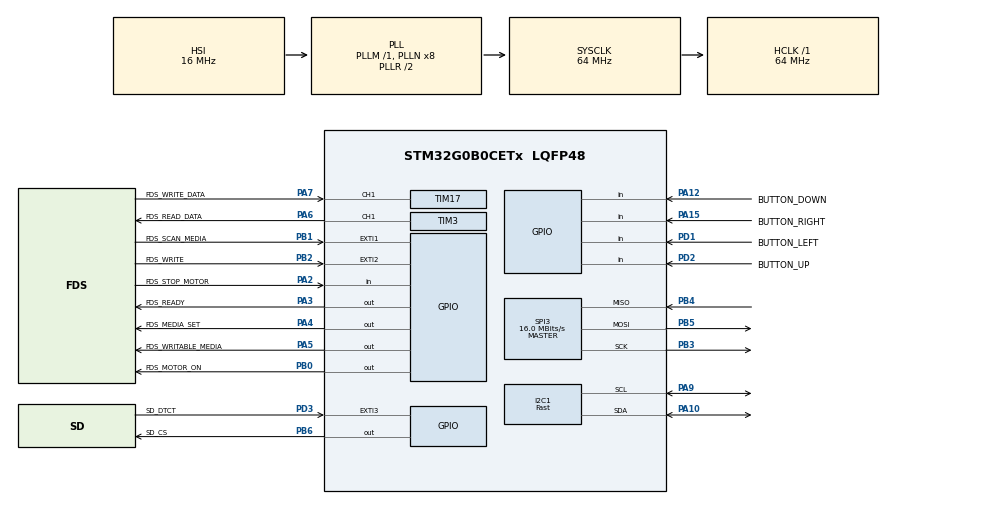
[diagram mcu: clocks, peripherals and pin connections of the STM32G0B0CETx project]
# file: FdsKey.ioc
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Dma.Request0=TIM3_UP
Dma.Request1=TIM17_CH1
Dma.TIM17_CH1.1.Direction=DMA_PERIPH_TO_MEMORY
Dma.TIM17_CH1.1.EventEnable=DISABLE
Dma.TIM17_CH1.1.Instance=DMA1_Channel2
Dma.TIM17_CH1.1.MemDataAlignment=DMA_MDATAALIGN_HALFWORD
Dma.TIM17_CH1.1.MemInc=DMA_MINC_ENABLE
Dma.TIM17_CH1.1.Mode=DMA_CIRCULAR
Dma.TIM17_CH1.1.PeriphDataAlignment=DMA_PDATAALIGN_HALFWORD
Dma.TIM17_CH1.1.PeriphInc=DMA_PINC_DISABLE
Dma.TIM17_CH1.1.Polarity=HAL_DMAMUX_REQ_GEN_RISING
Dma.TIM17_CH1.1.Priority=DMA_PRIORITY_VERY_HIGH
Dma.TIM17_CH1.1.RequestNumber=1
Dma.TIM17_CH1.1.SignalID=NONE
Dma.TIM17_CH1.1.SyncEnable=DISABLE
Dma.TIM17_CH1.1.SyncPolarity=HAL_DMAMUX_SYNC_NO_EVENT
Dma.TIM17_CH1.1.SyncRequestNumber=1
Dma.TIM17_CH1.1.SyncSignalID=NONE
Dma.TIM3_UP.0.Direction=DMA_MEMORY_TO_PERIPH
Dma.TIM3_UP.0.EventEnable=DISABLE
Dma.TIM3_UP.0.Instance=DMA1_Channel1
Dma.TIM3_UP.0.MemDataAlignment=DMA_MDATAALIGN_BYTE
Dma.TIM3_UP.0.MemInc=DMA_MINC_ENABLE
Dma.TIM3_UP.0.Mode=DMA_CIRCULAR
Dma.TIM3_UP.0.PeriphDataAlignment=DMA_PDATAALIGN_HALFWORD
Dma.TIM3_UP.0.PeriphInc=DMA_PINC_DISABLE
Dma.TIM3_UP.0.Polarity=HAL_DMAMUX_REQ_GEN_RISING
Dma.TIM3_UP.0.Priority=DMA_PRIORITY_MEDIUM
Dma.TIM3_UP.0.RequestNumber=1
Dma.TIM3_UP.0.SignalID=NONE
Dma.TIM3_UP.0.SyncEnable=DISABLE
Dma.TIM3_UP.0.SyncPolarity=HAL_DMAMUX_SYNC_NO_EVENT
Dma.TIM3_UP.0.SyncRequestNumber=1
Dma.TIM3_UP.0.SyncSignalID=NONE
I2C1.I2C_Speed_Mode=I2C_Fast
I2C1.Timing=0x00300F38
Mcu.Family=STM32G0
Mcu.Name=STM32G0B0CETx
Mcu.Package=LQFP48
NVIC.DMA1_Channel1_IRQn=true\:0\:0\:false\:false\:true\:false\:true\:true
NVIC.DMA1_Channel2_3_IRQn=true\:0\:0\:true\:false\:true\:false\:true\:true
NVIC.EXTI0_1_IRQn=true\:0\:0\:true\:false\:true\:true\:true\:true
NVIC.EXTI2_3_IRQn=true\:0\:0\:true\:false\:true\:true\:true\:true
NVIC.TIM1_BRK_UP_TRG_COM_IRQn=true\:3\:0\:true\:false\:true\:true\:true\:true
PA10.GPIO_Pu=GPIO_PULLUP
PA10.Mode=I2C
PA10.Signal=I2C1_SDA
PA12\ [PA10].GPIO_Label=BUTTON_DOWN
PA12\ [PA10].GPIO_PuPd=GPIO_PULLUP
PA12\ [PA10].Signal=GPIO_Input
PA13.Mode=Serial_Wire
PA13.Signal=SYS_SWDIO
PA14-BOOT0.Mode=Serial_Wire
PA14-BOOT0.Signal=SYS_SWCLK
PA15.GPIO_Label=BUTTON_RIGHT
PA15.GPIO_PuPd=GPIO_PULLUP
PA15.Signal=GPIO_Input
PA2.GPIO_Label=FDS_STOP_MOTOR
PA2.GPIO_PuPd=GPIO_PULLUP
PA2.Signal=GPIO_Input
PA3.GPIO_Label=FDS_READY
PA3.GPIO_ModeDefaultOutputPP=GPIO_MODE_OUTPUT_PP
PA3.GPIO_PuPd=GPIO_NOPULL
PA3.PinState=GPIO_PIN_SET
PA3.Signal=GPIO_Output
PA4.GPIO_Label=FDS_MEDIA_SET
PA4.GPIO_ModeDefaultOutputPP=GPIO_MODE_OUTPUT_PP
PA4.GPIO_PuPd=GPIO_NOPULL
PA4.PinState=GPIO_PIN_SET
PA4.Signal=GPIO_Output
PA5.GPIO_Label=FDS_WRITABLE_MEDIA
PA5.GPIO_ModeDefaultOutputPP=GPIO_MODE_OUTPUT_PP
PA5.GPIO_PuPd=GPIO_NOPULL
PA5.PinState=GPIO_PIN_SET
PA5.Signal=GPIO_Output
PA6.GPIO_Label=FDS_READ_DATA
PA6.GPIO_PuPd=GPIO_PULLDOWN
PA6.GPIO_Speed=GPIO_SPEED_FREQ_HIGH
PA6.Signal=S_TIM3_CH1
PA7.GPIO_Label=FDS_WRITE_DATA
PA7.GPIO_PuPd=GPIO_PULLDOWN
PA7.Signal=S_TIM17_CH1
PA9.GPIO_Pu=GPIO_PULLUP
PA9.Mode=I2C
PA9.Signal=I2C1_SCL
PB0.GPIO_Label=FDS_MOTOR_ON
PB0.GPIO_ModeDefaultOutputPP=GPIO_MODE_OUTPUT_PP
PB0.GPIO_PuPd=GPIO_NOPULL
PB0.PinState=GPIO_PIN_SET
PB0.Signal=GPIO_Output
PB1.GPIO_Label=FDS_SCAN_MEDIA
PB1.GPIO_ModeDefaultEXTI=GPIO_MODE_IT_RISING_FALLING
PB1.GPIO_PuPd=GPIO_PULLUP
PB1.Signal=GPXTI1
PB2.GPIO_Label=FDS_WRITE
PB2.GPIO_ModeDefaultEXTI=GPIO_MODE_IT_RISING_FALLING
PB2.GPIO_PuPd=GPIO_PULLUP
PB2.Signal=GPXTI2
PB3.Mode=Full_Duplex_Master
PB3.Signal=SPI3_SCK
PB4.Mode=Full_Duplex_Master
PB4.Signal=SPI3_MISO
PB5.Mode=Full_Duplex_Master
PB5.Signal=SPI3_MOSI
PB6.GPIO_Label=SD_CS
PB6.PinState=GPIO_PIN_SET
PB6.Signal=GPIO_Output
PD1.GPIO_Label=BUTTON_LEFT
PD1.GPIO_PuPd=GPIO_PULLUP
PD1.Signal=GPIO_Input
PD2.GPIO_Label=BUTTON_UP
PD2.GPIO_PuPd=GPIO_PULLUP
PD2.Signal=GPIO_Input
PD3.GPIO_Label=SD_DTCT
PD3.GPIO_ModeDefaultEXTI=GPIO_MODE_IT_RISING
PD3.GPIO_PuPd=GPIO_PULLUP
PD3.Signal=GPXTI3
ProjectManager.HeapSize=0x200
ProjectManager.StackSize=0x400
ProjectManager.TargetToolchain=STM32CubeIDE
RCC.ADCFreq_Value=64000000
RCC.AHBFreq_Value=64000000
RCC.APB1CLKDivider=RCC_HCLK_DIV2
RCC.CortexFreq_Value=64000000
RCC.EXTERNAL_CLOCK_VALUE=48000
RCC.HCLKFreq_Value=64000000
RCC.HSE_VALUE=8000000
RCC.HSI_VALUE=16000000
RCC.LSE_VALUE=32768
RCC.SYSCLKFreq_VALUE=64000000
RCC.SYSCLKSource=RCC_SYSCLKSOURCE_PLLCLK
RCC.USBFreq_Value=64000000
RCC.VCOOutputFreq_Value=128000000
SH.S_TIM17_CH1.0=TIM17_CH1,Input_Capture1_from_TI1
SH.S_TIM3_CH1.0=TIM3_CH1,PWM Generation1 CH1
SPI3.BaudRatePrescaler=SPI_BAUDRATEPRESCALER_2
SPI3.CalculateBaudRate=16.0 MBits/s
SPI3.Direction=SPI_DIRECTION_2LINES
SPI3.Mode=SPI_MODE_MASTER
SPI3.VirtualType=VM_MASTER
TIM1.Period=9
TIM1.Prescaler=63999
TIM17.Channel=TIM_CHANNEL_1
TIM3.Channel-PWM\ Generation1\ CH1=TIM_CHANNEL_1
TIM3.Period=319
TIM3.Pulse-PWM\ Generation1\ CH1=31
TIM4.Period=6535
TIM4.Prescaler=63
VP_TIM17_VS_ClockSourceINT.Mode=Enable_Timer
VP_TIM1_VS_ClockSourceINT.Mode=Internal
VP_TIM3_VS_ClockSourceINT.Mode=Internal
VP_TIM4_VS_ClockSourceINT.Mode=Internal
board=custom

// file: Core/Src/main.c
/* USER CODE BEGIN Header */
/**
  ******************************************************************************
  * @file           : main.c
  * @brief          : Main program body
  ******************************************************************************
  * @attention
  *
  * Copyright (c) 2023 STMicroelectronics.
  * All rights reserved.
  *
  * This software is licensed under terms that can be found in the LICENSE file
  * in the root directory of this software component.
  * If no LICENSE file comes with this software, it is provided AS-IS.
  *
  ******************************************************************************
  */
/* USER CODE END Header */
#include "main.h"

/* USER CODE BEGIN Includes */
#include "oled.h"
#include "mainmenu.h"
#include "settings.h"
#include "fdsemu.h"
#include "splash.h"
#include "servicemenu.h"
/* USER CODE END Includes */

I2C_HandleTypeDef hi2c1;

SPI_HandleTypeDef hspi3;

TIM_HandleTypeDef htim1;
TIM_HandleTypeDef htim3;
TIM_HandleTypeDef htim4;
TIM_HandleTypeDef htim17;
DMA_HandleTypeDef hdma_tim3_up;
DMA_HandleTypeDef hdma_tim17_ch1;

void SystemClock_Config(void);
static void MX_GPIO_Init(void);
static void MX_DMA_Init(void);
static void MX_I2C1_Init(void);
static void MX_SPI3_Init(void);
static void MX_TIM3_Init(void);
static void MX_TIM17_Init(void);
static void MX_TIM1_Init(void);
static void MX_TIM4_Init(void);
/* USER CODE BEGIN PFP */

void HAL_GPIO_EXTI_Rising_Callback(uint16_t GPIO_Pin)
{
  switch (GPIO_Pin)
  {
  case FDS_SCAN_MEDIA_Pin:
  case FDS_WRITE_Pin:
    fds_check_pins();
    break;
  case SD_DTCT_Pin:
    show_error_screen("The SD card is ejected", 1);
    break;
  }
}

void HAL_GPIO_EXTI_Falling_Callback(uint16_t GPIO_Pin)
{
  switch (GPIO_Pin)
  {
  case FDS_SCAN_MEDIA_Pin:
  case FDS_WRITE_Pin:
    fds_check_pins();
    break;
  }
}

void HAL_TIM_PeriodElapsedCallback(TIM_HandleTypeDef *htim)
{
  if (htim == &htim1)
    fds_check_pins();
}

void delay_us(uint16_t us)
{
  htim4.Instance->EGR |= TIM_EGR_UG;
  while (htim4.Instance->CNT < us);
}

/* USER CODE END PFP */

int main(void)
{

  /* MCU Configuration--------------------------------------------------------*/

  /* Reset of all peripherals, Initializes the Flash interface and the Systick. */
  HAL_Init();

  /* Configure the system clock */
  SystemClock_Config();

  /* USER CODE BEGIN SysInit */
  HAL_Delay(100);
  service_settings_load();
  settings_load();
  /* USER CODE END SysInit */

  /* Initialize all configured peripherals */
  MX_GPIO_Init();
  MX_DMA_Init();
  MX_I2C1_Init();
  MX_SPI3_Init();
  MX_TIM3_Init();
  MX_TIM17_Init();
  MX_TIM1_Init();
  MX_TIM4_Init();
  /* USER CODE BEGIN 2 */

  // pins check timer
  HAL_TIM_Base_Start_IT(&htim1);
  // us delay timer
  HAL_TIM_Base_Start_IT(&htim4);
  /* USER CODE END 2 */

  /* Infinite loop */
  /* USER CODE BEGIN WHILE */
  main_menu_loop();
  while (1)
  {
    /* USER CODE END WHILE */

  }
}

void SystemClock_Config(void)
{
  RCC_OscInitTypeDef RCC_OscInitStruct = {0};
  RCC_ClkInitTypeDef RCC_ClkInitStruct = {0};

  /** Configure the main internal regulator output voltage
  */
  HAL_PWREx_ControlVoltageScaling(PWR_REGULATOR_VOLTAGE_SCALE1);

  /** Initializes the RCC Oscillators according to the specified parameters
  * in the RCC_OscInitTypeDef structure.
  */
  RCC_OscInitStruct.OscillatorType = RCC_OSCILLATORTYPE_HSI;
  RCC_OscInitStruct.HSIState = RCC_HSI_ON;
  RCC_OscInitStruct.HSIDiv = RCC_HSI_DIV1;
  RCC_OscInitStruct.HSICalibrationValue = RCC_HSICALIBRATION_DEFAULT;
  RCC_OscInitStruct.PLL.PLLState = RCC_PLL_ON;
  RCC_OscInitStruct.PLL.PLLSource = RCC_PLLSOURCE_HSI;
  RCC_OscInitStruct.PLL.PLLM = RCC_PLLM_DIV1;
  RCC_OscInitStruct.PLL.PLLN = 8;
  RCC_OscInitStruct.PLL.PLLP = RCC_PLLP_DIV2;
  RCC_OscInitStruct.PLL.PLLQ = RCC_PLLQ_DIV2;
  RCC_OscInitStruct.PLL.PLLR = RCC_PLLR_DIV2;
  if (HAL_RCC_OscConfig(&RCC_OscInitStruct) != HAL_OK)
  {
    Error_Handler();
  }

  /** Initializes the CPU, AHB and APB buses clocks
  */
  RCC_ClkInitStruct.ClockType = RCC_CLOCKTYPE_HCLK|RCC_CLOCKTYPE_SYSCLK
                              |RCC_CLOCKTYPE_PCLK1;
  RCC_ClkInitStruct.SYSCLKSource = RCC_SYSCLKSOURCE_PLLCLK;
  RCC_ClkInitStruct.AHBCLKDivider = RCC_SYSCLK_DIV1;
  RCC_ClkInitStruct.APB1CLKDivider = RCC_HCLK_DIV2;

  if (HAL_RCC_ClockConfig(&RCC_ClkInitStruct, FLASH_LATENCY_2) != HAL_OK)
  {
    Error_Handler();
  }
}

static void MX_I2C1_Init(void)
{

  hi2c1.Instance = I2C1;
  hi2c1.Init.Timing = 0x00300F38;
  hi2c1.Init.OwnAddress1 = 0;
  hi2c1.Init.AddressingMode = I2C_ADDRESSINGMODE_7BIT;
  hi2c1.Init.DualAddressMode = I2C_DUALADDRESS_DISABLE;
  hi2c1.Init.OwnAddress2 = 0;
  hi2c1.Init.OwnAddress2Masks = I2C_OA2_NOMASK;
  hi2c1.Init.GeneralCallMode = I2C_GENERALCALL_DISABLE;
  hi2c1.Init.NoStretchMode = I2C_NOSTRETCH_DISABLE;
  if (HAL_I2C_Init(&hi2c1) != HAL_OK)
  {
    Error_Handler();
  }

  /** Configure Analogue filter
  */
  if (HAL_I2CEx_ConfigAnalogFilter(&hi2c1, I2C_ANALOGFILTER_ENABLE) != HAL_OK)
  {
    Error_Handler();
  }

  /** Configure Digital filter
  */
  if (HAL_I2CEx_ConfigDigitalFilter(&hi2c1, 0) != HAL_OK)
  {
    Error_Handler();
  }
  /* USER CODE BEGIN I2C1_Init 2 */
  oled_init(fdskey_service_settings.oled_controller, fdskey_settings.lefty_mode ? 0 : 1, fdskey_settings.invert_screen, 0xFF * fdskey_settings.brightness / SETTINGS_BRIGHTNESS_MAX);
  oled_draw_rectangle(0, 0, OLED_WIDTH - 1, OLED_HEIGHT - 1, 1, 0);
  oled_update_full();
  oled_set_line(0);
  /* USER CODE END I2C1_Init 2 */

}

static void MX_SPI3_Init(void)
{

  /* SPI3 parameter configuration*/
  hspi3.Instance = SPI3;
  hspi3.Init.Mode = SPI_MODE_MASTER;
  hspi3.Init.Direction = SPI_DIRECTION_2LINES;
  hspi3.Init.DataSize = SPI_DATASIZE_8BIT;
  hspi3.Init.CLKPolarity = SPI_POLARITY_LOW;
  hspi3.Init.CLKPhase = SPI_PHASE_1EDGE;
  hspi3.Init.NSS = SPI_NSS_SOFT;
  hspi3.Init.BaudRatePrescaler = SPI_BAUDRATEPRESCALER_2;
  hspi3.Init.FirstBit = SPI_FIRSTBIT_MSB;
  hspi3.Init.TIMode = SPI_TIMODE_DISABLE;
  hspi3.Init.CRCCalculation = SPI_CRCCALCULATION_DISABLE;
  hspi3.Init.CRCPolynomial = 7;
  hspi3.Init.CRCLength = SPI_CRC_LENGTH_DATASIZE;
  hspi3.Init.NSSPMode = SPI_NSS_PULSE_ENABLE;
  if (HAL_SPI_Init(&hspi3) != HAL_OK)
  {
    Error_Handler();
  }

}

static void MX_TIM1_Init(void)
{

  TIM_ClockConfigTypeDef sClockSourceConfig = {0};
  TIM_MasterConfigTypeDef sMasterConfig = {0};

  htim1.Instance = TIM1;
  htim1.Init.Prescaler = 63999;
  htim1.Init.CounterMode = TIM_COUNTERMODE_UP;
  htim1.Init.Period = 9;
  htim1.Init.ClockDivision = TIM_CLOCKDIVISION_DIV1;
  htim1.Init.RepetitionCounter = 0;
  htim1.Init.AutoReloadPreload = TIM_AUTORELOAD_PRELOAD_DISABLE;
  if (HAL_TIM_Base_Init(&htim1) != HAL_OK)
  {
    Error_Handler();
  }
  sClockSourceConfig.ClockSource = TIM_CLOCKSOURCE_INTERNAL;
  if (HAL_TIM_ConfigClockSource(&htim1, &sClockSourceConfig) != HAL_OK)
  {
    Error_Handler();
  }
  sMasterConfig.MasterOutputTrigger = TIM_TRGO_RESET;
  sMasterConfig.MasterOutputTrigger2 = TIM_TRGO2_RESET;
  sMasterConfig.MasterSlaveMode = TIM_MASTERSLAVEMODE_DISABLE;
  if (HAL_TIMEx_MasterConfigSynchronization(&htim1, &sMasterConfig) != HAL_OK)
  {
    Error_Handler();
  }

}

static void MX_TIM3_Init(void)
{

  TIM_ClockConfigTypeDef sClockSourceConfig = {0};
  TIM_MasterConfigTypeDef sMasterConfig = {0};
  TIM_OC_InitTypeDef sConfigOC = {0};

  htim3.Instance = TIM3;
  htim3.Init.Prescaler = 0;
  htim3.Init.CounterMode = TIM_COUNTERMODE_UP;
  htim3.Init.Period = 319;
  htim3.Init.ClockDivision = TIM_CLOCKDIVISION_DIV1;
  htim3.Init.AutoReloadPreload = TIM_AUTORELOAD_PRELOAD_DISABLE;
  if (HAL_TIM_Base_Init(&htim3) != HAL_OK)
  {
    Error_Handler();
  }
  sClockSourceConfig.ClockSource = TIM_CLOCKSOURCE_INTERNAL;
  if (HAL_TIM_ConfigClockSource(&htim3, &sClockSourceConfig) != HAL_OK)
  {
    Error_Handler();
  }
  if (HAL_TIM_PWM_Init(&htim3) != HAL_OK)
  {
    Error_Handler();
  }
  sMasterConfig.MasterOutputTrigger = TIM_TRGO_RESET;
  sMasterConfig.MasterSlaveMode = TIM_MASTERSLAVEMODE_DISABLE;
  if (HAL_TIMEx_MasterConfigSynchronization(&htim3, &sMasterConfig) != HAL_OK)
  {
    Error_Handler();
  }
  sConfigOC.OCMode = TIM_OCMODE_PWM1;
  sConfigOC.Pulse = 31;
  sConfigOC.OCPolarity = TIM_OCPOLARITY_HIGH;
  sConfigOC.OCFastMode = TIM_OCFAST_DISABLE;
  if (HAL_TIM_PWM_ConfigChannel(&htim3, &sConfigOC, TIM_CHANNEL_1) != HAL_OK)
  {
    Error_Handler();
  }
  HAL_TIM_MspPostInit(&htim3);

}

static void MX_TIM4_Init(void)
{

  TIM_ClockConfigTypeDef sClockSourceConfig = {0};
  TIM_MasterConfigTypeDef sMasterConfig = {0};

  htim4.Instance = TIM4;
  htim4.Init.Prescaler = 63;
  htim4.Init.CounterMode = TIM_COUNTERMODE_UP;
  htim4.Init.Period = 6535;
  htim4.Init.ClockDivision = TIM_CLOCKDIVISION_DIV1;
  htim4.Init.AutoReloadPreload = TIM_AUTORELOAD_PRELOAD_DISABLE;
  if (HAL_TIM_Base_Init(&htim4) != HAL_OK)
  {
    Error_Handler();
  }
  sClockSourceConfig.ClockSource = TIM_CLOCKSOURCE_INTERNAL;
  if (HAL_TIM_ConfigClockSource(&htim4, &sClockSourceConfig) != HAL_OK)
  {
    Error_Handler();
  }
  sMasterConfig.MasterOutputTrigger = TIM_TRGO_RESET;
  sMasterConfig.MasterSlaveMode = TIM_MASTERSLAVEMODE_DISABLE;
  if (HAL_TIMEx_MasterConfigSynchronization(&htim4, &sMasterConfig) != HAL_OK)
  {
    Error_Handler();
  }

}

static void MX_TIM17_Init(void)
{

  TIM_IC_InitTypeDef sConfigIC = {0};

  htim17.Instance = TIM17;
  htim17.Init.Prescaler = 0;
  htim17.Init.CounterMode = TIM_COUNTERMODE_UP;
  htim17.Init.Period = 65535;
  htim17.Init.ClockDivision = TIM_CLOCKDIVISION_DIV1;
  htim17.Init.RepetitionCounter = 0;
  htim17.Init.AutoReloadPreload = TIM_AUTORELOAD_PRELOAD_DISABLE;
  if (HAL_TIM_Base_Init(&htim17) != HAL_OK)
  {
    Error_Handler();
  }
  if (HAL_TIM_IC_Init(&htim17) != HAL_OK)
  {
    Error_Handler();
  }
  sConfigIC.ICPolarity = TIM_INPUTCHANNELPOLARITY_RISING;
  sConfigIC.ICSelection = TIM_ICSELECTION_DIRECTTI;
  sConfigIC.ICPrescaler = TIM_ICPSC_DIV1;
  sConfigIC.ICFilter = 0;
  if (HAL_TIM_IC_ConfigChannel(&htim17, &sConfigIC, TIM_CHANNEL_1) != HAL_OK)
  {
    Error_Handler();
  }

}

static void MX_DMA_Init(void)
{

  /* DMA controller clock enable */
  __HAL_RCC_DMA1_CLK_ENABLE();

  /* DMA interrupt init */
  /* DMA1_Channel1_IRQn interrupt configuration */
  HAL_NVIC_SetPriority(DMA1_Channel1_IRQn, 0, 0);
  HAL_NVIC_EnableIRQ(DMA1_Channel1_IRQn);
  /* DMA1_Channel2_3_IRQn interrupt configuration */
  HAL_NVIC_SetPriority(DMA1_Channel2_3_IRQn, 0, 0);
  HAL_NVIC_EnableIRQ(DMA1_Channel2_3_IRQn);

}

static void MX_GPIO_Init(void)
{
  GPIO_InitTypeDef GPIO_InitStruct = {0};

  /* GPIO Ports Clock Enable */
  __HAL_RCC_GPIOA_CLK_ENABLE();
  __HAL_RCC_GPIOB_CLK_ENABLE();
  __HAL_RCC_GPIOD_CLK_ENABLE();

  /*Configure GPIO pin Output Level */
  HAL_GPIO_WritePin(GPIOA, FDS_READY_Pin|FDS_MEDIA_SET_Pin|FDS_WRITABLE_MEDIA_Pin, GPIO_PIN_SET);

  /*Configure GPIO pin Output Level */
  HAL_GPIO_WritePin(GPIOB, FDS_MOTOR_ON_Pin|SD_CS_Pin, GPIO_PIN_SET);

  /*Configure GPIO pins : FDS_STOP_MOTOR_Pin BUTTON_DOWN_Pin BUTTON_RIGHT_Pin */
  GPIO_InitStruct.Pin = FDS_STOP_MOTOR_Pin|BUTTON_DOWN_Pin|BUTTON_RIGHT_Pin;
  GPIO_InitStruct.Mode = GPIO_MODE_INPUT;
  GPIO_InitStruct.Pull = GPIO_PULLUP;
  HAL_GPIO_Init(GPIOA, &GPIO_InitStruct);

  /*Configure GPIO pins : FDS_READY_Pin FDS_MEDIA_SET_Pin FDS_WRITABLE_MEDIA_Pin */
  GPIO_InitStruct.Pin = FDS_READY_Pin|FDS_MEDIA_SET_Pin|FDS_WRITABLE_MEDIA_Pin;
  GPIO_InitStruct.Mode = GPIO_MODE_OUTPUT_PP;
  GPIO_InitStruct.Pull = GPIO_NOPULL;
  GPIO_InitStruct.Speed = GPIO_SPEED_FREQ_LOW;
  HAL_GPIO_Init(GPIOA, &GPIO_InitStruct);

  /*Configure GPIO pins : FDS_MOTOR_ON_Pin SD_CS_Pin */
  GPIO_InitStruct.Pin = FDS_MOTOR_ON_Pin|SD_CS_Pin;
  GPIO_InitStruct.Mode = GPIO_MODE_OUTPUT_PP;
  GPIO_InitStruct.Pull = GPIO_NOPULL;
  GPIO_InitStruct.Speed = GPIO_SPEED_FREQ_LOW;
  HAL_GPIO_Init(GPIOB, &GPIO_InitStruct);

  /*Configure GPIO pins : FDS_SCAN_MEDIA_Pin FDS_WRITE_Pin */
  GPIO_InitStruct.Pin = FDS_SCAN_MEDIA_Pin|FDS_WRITE_Pin;
  GPIO_InitStruct.Mode = GPIO_MODE_IT_RISING_FALLING;
  GPIO_InitStruct.Pull = GPIO_PULLUP;
  HAL_GPIO_Init(GPIOB, &GPIO_InitStruct);

  /*Configure GPIO pins : BUTTON_LEFT_Pin BUTTON_UP_Pin */
  GPIO_InitStruct.Pin = BUTTON_LEFT_Pin|BUTTON_UP_Pin;
  GPIO_InitStruct.Mode = GPIO_MODE_INPUT;
  GPIO_InitStruct.Pull = GPIO_PULLUP;
  HAL_GPIO_Init(GPIOD, &GPIO_InitStruct);

  /*Configure GPIO pin : SD_DTCT_Pin */
  GPIO_InitStruct.Pin = SD_DTCT_Pin;
  GPIO_InitStruct.Mode = GPIO_MODE_IT_RISING;
  GPIO_InitStruct.Pull = GPIO_PULLUP;
  HAL_GPIO_Init(SD_DTCT_GPIO_Port, &GPIO_InitStruct);

  /* EXTI interrupt init*/
  HAL_NVIC_SetPriority(EXTI0_1_IRQn, 0, 0);
  HAL_NVIC_EnableIRQ(EXTI0_1_IRQn);

  HAL_NVIC_SetPriority(EXTI2_3_IRQn, 0, 0);
  HAL_NVIC_EnableIRQ(EXTI2_3_IRQn);

}

void Error_Handler(void)
{
  /* USER CODE BEGIN Error_Handler_Debug */
  /* User can add his own implementation to report the HAL error return state */
  show_error_screen("Unknown fatal error", 1);
  /* USER CODE END Error_Handler_Debug */
}
